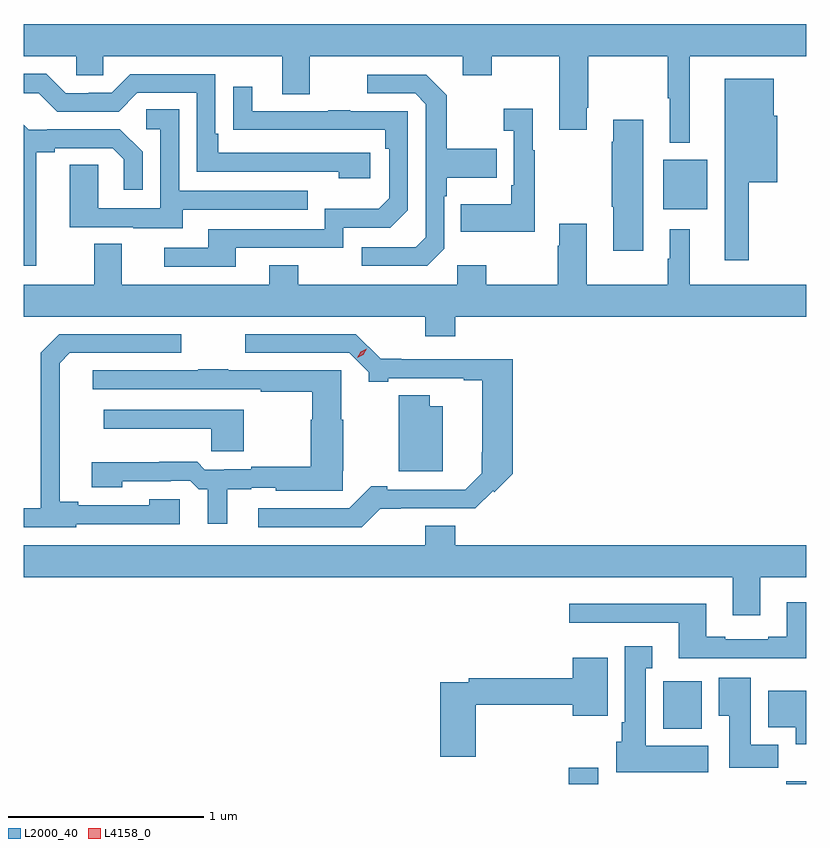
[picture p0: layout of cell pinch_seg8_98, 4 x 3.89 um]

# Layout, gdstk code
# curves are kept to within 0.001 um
import gdstk
lib = gdstk.Library(unit=1e-6, precision=1e-09)
def R(c, l, rs):  # rectangles x0, y0, x1, y1
    for r in rs: c.add(gdstk.rectangle(r[:2], r[2:], *l))
def P(c, l, *ps):  # polygons
    for p in ps: c.add(gdstk.Polygon(p, *l))
L2000_40 = (2000, 40)
L4158_0 = (4158, 0)

pinch_seg8_98 = lib.new_cell('pinch_seg8_98')
R(pinch_seg8_98, L2000_40, [(1061.759,1115.443,1061.911,1115.527), (1062.871,1115.443,1062.974,1115.456), (1062.242,1115.726,1062.439,1115.968), (1062.242,1118.381,1062.469,1118.635)])
P(pinch_seg8_98, L2000_40, [(1062.379,1119.164),(1062.974,1119.164),(1062.974,1119.328),(1058.974,1119.328),(1058.974,1119.164),(1059.243,1119.164),(1059.243,1119.066),(1059.381,1119.066),(1059.381,1119.164),(1060.295,1119.164),(1060.295,1118.97),(1060.435,1118.97),(1060.435,1119.164),(1061.219,1119.164),(1061.219,1119.065),(1061.367,1119.065),(1061.367,1119.164),(1061.711,1119.164),(1061.711,1118.787),(1061.851,1118.787),(1061.851,1118.899),(1061.859,1118.899),(1061.859,1119.164),(1062.265,1119.164),(1062.265,1118.948),(1062.275,1118.948),(1062.275,1118.72),(1062.379,1118.72)],
  [(1060.744,1118.67),(1059.967,1118.67),(1059.967,1118.767),(1059.954,1118.767),(1059.954,1119.072),(1059.519,1119.072),(1059.423,1118.976),(1059.305,1118.976),(1059.305,1118.973),(1059.189,1118.973),(1059.089,1119.073),(1058.974,1119.073),(1058.974,1118.973),(1059.051,1118.973),(1059.144,1118.88),(1059.459,1118.88),(1059.555,1118.976),(1059.858,1118.976),(1059.858,1118.574),(1060.583,1118.574),(1060.583,1118.54),(1060.744,1118.54)],
  [(1061.124,1118.178),(1061.124,1118.447),(1061.137,1118.447),(1061.137,1118.543),(1061.393,1118.543),(1061.393,1118.691),(1061.137,1118.691),(1061.137,1118.963),(1061.031,1119.069),(1060.731,1119.069),(1060.731,1118.973),(1060.974,1118.973),(1061.028,1118.919),(1061.028,1118.238),(1060.977,1118.187),(1060.701,1118.187),(1060.701,1118.091),(1061.037,1118.091)],
  [(1062.679,1118.519),(1062.826,1118.519),(1062.826,1118.859),(1062.808,1118.859),(1062.808,1119.049),(1062.557,1119.049),(1062.557,1118.121),(1062.679,1118.121)],
  [(1060.057,1118.184),(1060.608,1118.184),(1060.608,1118.286),(1060.848,1118.286),(1060.938,1118.376),(1060.938,1118.883),(1060.643,1118.883),(1060.643,1118.888),(1060.531,1118.888),(1060.531,1118.883),(1060.141,1118.883),(1060.141,1119.007),(1060.045,1119.007),(1060.045,1118.788),(1060.822,1118.787),(1060.822,1118.69),(1060.842,1118.69),(1060.842,1118.436),(1060.789,1118.383),(1060.512,1118.383),(1060.512,1118.28),(1059.917,1118.28),(1059.917,1118.184),(1059.693,1118.184),(1059.693,1118.088),(1060.057,1118.088)],
  [(1061.587,1118.683),(1061.575,1118.683),(1061.575,1118.896),(1061.427,1118.896),(1061.427,1118.783),(1061.478,1118.783),(1061.478,1118.503),(1061.466,1118.503),(1061.466,1118.407),(1061.209,1118.407),(1061.209,1118.267),(1061.587,1118.267)],
  [(1059.787,1118.379),(1060.427,1118.379),(1060.427,1118.475),(1059.768,1118.475),(1059.768,1118.891),(1059.6,1118.891),(1059.6,1118.79),(1059.672,1118.79),(1059.672,1118.385),(1059.354,1118.385),(1059.354,1118.609),(1059.209,1118.609),(1059.209,1118.289),(1059.533,1118.289),(1059.533,1118.285),(1059.787,1118.285)],
  [(1062.142,1118.839),(1061.987,1118.839),(1061.987,1118.726),(1061.98,1118.726),(1061.98,1118.395),(1061.987,1118.395),(1061.987,1118.168),(1062.142,1118.168)],
  [(1059.037,1118.672),(1059.133,1118.672),(1059.133,1118.694),(1059.428,1118.694),(1059.485,1118.637),(1059.485,1118.481),(1059.582,1118.481),(1059.582,1118.674),(1059.466,1118.79),(1059.094,1118.79),(1059.094,1118.787),(1059,1118.787),(1058.974,1118.813),(1058.974,1118.091),(1059.037,1118.091)],
  [(1061.18,1117.832),(1062.974,1117.832),(1062.974,1117.996),(1062.379,1117.996),(1062.379,1118.278),(1062.275,1118.278),(1062.275,1118.129),(1062.265,1118.129),(1062.265,1117.996),(1061.851,1117.996),(1061.851,1118.308),(1061.711,1118.308),(1061.711,1118.195),(1061.704,1118.195),(1061.704,1117.996),(1061.337,1117.996),(1061.337,1118.095),(1061.19,1118.095),(1061.19,1117.996),(1060.377,1117.996),(1060.377,1118.095),(1060.229,1118.095),(1060.229,1117.996),(1059.475,1117.996),(1059.475,1118.204),(1059.335,1118.204),(1059.335,1117.996),(1058.974,1117.996),(1058.974,1117.832),(1061.027,1117.832),(1061.027,1117.733),(1061.18,1117.733)],
  [(1060.796,1116.851),(1061.283,1116.852),(1061.373,1116.943),(1061.38,1116.935),(1061.474,1117.029),(1061.474,1117.614),(1060.903,1117.614),(1060.903,1117.616),(1060.799,1117.616),(1060.671,1117.743),(1060.107,1117.743),(1060.107,1117.647),(1060.638,1117.647),(1060.737,1117.548),(1060.737,1117.498),(1060.837,1117.498),(1060.837,1117.518),(1061.222,1117.518),(1061.222,1117.506),(1061.318,1117.506),(1061.318,1117.138),(1061.316,1117.138),(1061.316,1117.032),(1061.232,1116.948),(1060.831,1116.948),(1060.831,1116.964),(1060.75,1116.964),(1060.638,1116.852),(1060.173,1116.852),(1060.173,1116.756),(1060.701,1116.756)],
  [(1059.243,1116.771),(1059.772,1116.771),(1059.772,1116.898),(1059.616,1116.898),(1059.616,1116.867),(1059.253,1116.867),(1059.253,1116.887),(1059.157,1116.887),(1059.157,1117.183),(1059.159,1117.183),(1059.159,1117.39),(1059.157,1117.39),(1059.157,1117.594),(1059.21,1117.647),(1059.778,1117.647),(1059.778,1117.743),(1059.156,1117.743),(1059.06,1117.647),(1059.06,1116.852),(1058.974,1116.852),(1058.974,1116.756),(1059.243,1116.756)],
  [(1060.015,1116.95),(1060.137,1116.95),(1060.137,1116.957),(1060.263,1116.957),(1060.263,1116.941),(1060.604,1116.941),(1060.604,1117.045),(1060.606,1117.045),(1060.606,1117.305),(1060.597,1117.305),(1060.597,1117.557),(1060.019,1117.557),(1060.019,1117.562),(1059.865,1117.562),(1059.865,1117.557),(1059.327,1117.557),(1059.327,1117.461),(1060.186,1117.461),(1060.186,1117.449),(1060.45,1117.449),(1060.45,1117.305),(1060.441,1117.305),(1060.441,1117.066),(1060.137,1117.066),(1060.137,1117.053),(1060,1117.053),(1060,1117.05),(1059.9,1117.05),(1059.861,1117.09),(1059.667,1117.09),(1059.667,1117.087),(1059.321,1117.087),(1059.321,1116.959),(1059.477,1116.959),(1059.477,1116.99),(1059.725,1116.99),(1059.725,1116.993),(1059.825,1116.993),(1059.869,1116.95),(1059.914,1116.95),(1059.914,1116.774),(1060.015,1116.774)],
  [(1061.116,1117.375),(1061.05,1117.375),(1061.05,1117.429),(1060.892,1117.429),(1060.892,1117.043),(1061.116,1117.043)],
  [(1060.098,1117.356),(1059.384,1117.356),(1059.384,1117.259),(1059.932,1117.259),(1059.932,1117.143),(1060.098,1117.143)],
  [(1062.739,1116.5),(1062.974,1116.5),(1062.974,1116.664),(1061.18,1116.664),(1061.18,1116.763),(1061.027,1116.763),(1061.027,1116.664),(1058.974,1116.664),(1058.974,1116.5),(1062.599,1116.5),(1062.599,1116.306),(1062.739,1116.306)],
  [(1062.974,1116.373),(1062.875,1116.373),(1062.875,1116.196),(1062.779,1116.196),(1062.779,1116.183),(1062.559,1116.183),(1062.559,1116.196),(1062.463,1116.196),(1062.463,1116.364),(1061.763,1116.364),(1061.763,1116.267),(1062.323,1116.267),(1062.323,1116.087),(1062.783,1116.087),(1062.783,1116.086),(1062.974,1116.086)],
  [(1062.472,1115.638),(1062.154,1115.638),(1062.154,1116.035),(1062.187,1116.035),(1062.187,1116.148),(1062.047,1116.148),(1062.047,1115.758),(1062.032,1115.758),(1062.032,1115.658),(1062.002,1115.658),(1062.002,1115.504),(1062.472,1115.504)],
  [(1061.285,1115.848),(1061.78,1115.848),(1061.78,1115.792),(1061.959,1115.792),(1061.959,1116.088),(1061.78,1116.088),(1061.78,1115.984),(1061.248,1115.984),(1061.248,1115.964),(1061.102,1115.964),(1061.102,1115.583),(1061.285,1115.583)],
  [(1062.83,1115.644),(1062.691,1115.644),(1062.691,1115.986),(1062.527,1115.986),(1062.527,1115.792),(1062.581,1115.792),(1062.581,1115.526),(1062.83,1115.526)],
  [(1062.974,1115.92),(1062.779,1115.92),(1062.779,1115.732),(1062.92,1115.732),(1062.92,1115.645),(1062.974,1115.645)])
P(pinch_seg8_98, L4158_0, [(1060.679,1117.622),(1060.679,1117.622),(1060.696,1117.652),(1060.727,1117.667),(1060.728,1117.667),(1060.728,1117.667),(1060.71,1117.637),(1060.679,1117.622)])

lib.write_gds('pinch_seg8_98.gds')
